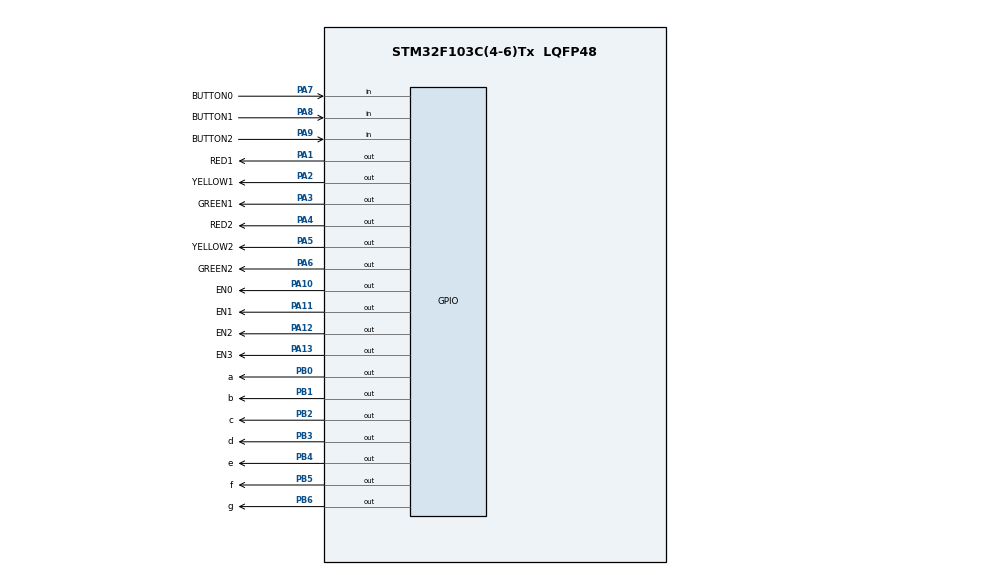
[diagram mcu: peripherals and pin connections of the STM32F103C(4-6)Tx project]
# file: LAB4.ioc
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Mcu.Family=STM32F1
Mcu.Name=STM32F103C(4-6)Tx
Mcu.Package=LQFP48
NVIC.PriorityGroup=NVIC_PRIORITYGROUP_4
NVIC.TIM2_IRQn=true\:0\:0\:false\:false\:true\:true\:true
PA1.GPIO_Label=RED1
PA1.Signal=GPIO_Output
PA10.GPIO_Label=EN0
PA10.Signal=GPIO_Output
PA11.GPIO_Label=EN1
PA11.Signal=GPIO_Output
PA12.GPIO_Label=EN2
PA12.Signal=GPIO_Output
PA13.GPIO_Label=EN3
PA13.Signal=GPIO_Output
PA2.GPIO_Label=YELLOW1
PA2.Signal=GPIO_Output
PA3.GPIO_Label=GREEN1
PA3.Signal=GPIO_Output
PA4.GPIO_Label=RED2
PA4.Signal=GPIO_Output
PA5.GPIO_Label=YELLOW2
PA5.Signal=GPIO_Output
PA6.GPIO_Label=GREEN2
PA6.Signal=GPIO_Output
PA7.GPIO_Label=BUTTON0
PA7.GPIO_PuPd=GPIO_PULLUP
PA7.Signal=GPIO_Input
PA8.GPIO_Label=BUTTON1
PA8.GPIO_PuPd=GPIO_PULLUP
PA8.Signal=GPIO_Input
PA9.GPIO_Label=BUTTON2
PA9.GPIO_PuPd=GPIO_PULLUP
PA9.Signal=GPIO_Input
PB0.GPIO_Label=a
PB0.Signal=GPIO_Output
PB1.GPIO_Label=b
PB1.Signal=GPIO_Output
PB2.GPIO_Label=c
PB2.Signal=GPIO_Output
PB3.GPIO_Label=d
PB3.Signal=GPIO_Output
PB4.GPIO_Label=e
PB4.Signal=GPIO_Output
PB5.GPIO_Label=f
PB5.Signal=GPIO_Output
PB6.GPIO_Label=g
PB6.Signal=GPIO_Output
ProjectManager.HeapSize=0x200
ProjectManager.StackSize=0x400
ProjectManager.TargetToolchain=STM32CubeIDE
RCC.APB1Freq_Value=8000000
RCC.APB2Freq_Value=8000000
TIM2.Period=9
TIM2.Prescaler=7999
VP_SYS_VS_ND.Mode=No_Debug
VP_TIM2_VS_ClockSourceINT.Mode=Internal
board=custom

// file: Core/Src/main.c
/* USER CODE BEGIN Header */
/**
  ******************************************************************************
  * @file           : main.c
  * @brief          : Main program body
  ******************************************************************************
  * @attention
  *
  * <h2><center>&copy; Copyright (c) 2024 STMicroelectronics.
  * All rights reserved.</center></h2>
  *
  * This software component is licensed by ST under BSD 3-Clause license,
  * the "License"; You may not use this file except in compliance with the
  * License. You may obtain a copy of the License at:
  *                        opensource.org/licenses/BSD-3-Clause
  *
  ******************************************************************************
  */
/* USER CODE END Header */
#include "main.h"

/* USER CODE BEGIN Includes */
#include "fsm_automatic.h"
#include "fsm_manual.h"
#include "button.h"
#include "display.h"
#include "scheduler.h"
/* USER CODE END Includes */

TIM_HandleTypeDef htim2;

void SystemClock_Config(void);
static void MX_GPIO_Init(void);
static void MX_TIM2_Init(void);

/* USER CODE BEGIN 0 */
int index_led_7SEG = 0;
void displayLed(){
	update7SEG(index_led_7SEG++);
	if (index_led_7SEG >= 4) index_led_7SEG = 0;
}
/* USER CODE END 0 */

int main(void)
{

  /* MCU Configuration--------------------------------------------------------*/

  /* Reset of all peripherals, Initializes the Flash interface and the Systick. */
  HAL_Init();

  /* Configure the system clock */
  SystemClock_Config();

  /* Initialize all configured peripherals */
  MX_GPIO_Init();
  MX_TIM2_Init();
  /* USER CODE BEGIN 2 */
  HAL_TIM_Base_Start_IT(&htim2);
  /* USER CODE END 2 */

  /* Infinite loop */
  /* USER CODE BEGIN WHILE */
  status = INIT;
  SCH_Init();
  SCH_Add_Task(fsm_automatic_run,100, 100);
  SCH_Add_Task(fsm_manual_run,25 , 25);
  SCH_Add_Task(displayLed, 25 , 25);
  while (1)
  {
//	 	fsm_automatic_run();
//	 	fsm_manual_run();
	  SCH_Dispatch_Tasks();
    /* USER CODE END WHILE */

  }
}

void SystemClock_Config(void)
{
  RCC_OscInitTypeDef RCC_OscInitStruct = {0};
  RCC_ClkInitTypeDef RCC_ClkInitStruct = {0};

  /** Initializes the RCC Oscillators according to the specified parameters
  * in the RCC_OscInitTypeDef structure.
  */
  RCC_OscInitStruct.OscillatorType = RCC_OSCILLATORTYPE_HSI;
  RCC_OscInitStruct.HSIState = RCC_HSI_ON;
  RCC_OscInitStruct.HSICalibrationValue = RCC_HSICALIBRATION_DEFAULT;
  RCC_OscInitStruct.PLL.PLLState = RCC_PLL_NONE;
  if (HAL_RCC_OscConfig(&RCC_OscInitStruct) != HAL_OK)
  {
    Error_Handler();
  }
  /** Initializes the CPU, AHB and APB buses clocks
  */
  RCC_ClkInitStruct.ClockType = RCC_CLOCKTYPE_HCLK|RCC_CLOCKTYPE_SYSCLK
                              |RCC_CLOCKTYPE_PCLK1|RCC_CLOCKTYPE_PCLK2;
  RCC_ClkInitStruct.SYSCLKSource = RCC_SYSCLKSOURCE_HSI;
  RCC_ClkInitStruct.AHBCLKDivider = RCC_SYSCLK_DIV1;
  RCC_ClkInitStruct.APB1CLKDivider = RCC_HCLK_DIV1;
  RCC_ClkInitStruct.APB2CLKDivider = RCC_HCLK_DIV1;

  if (HAL_RCC_ClockConfig(&RCC_ClkInitStruct, FLASH_LATENCY_0) != HAL_OK)
  {
    Error_Handler();
  }
}

static void MX_TIM2_Init(void)
{

  TIM_ClockConfigTypeDef sClockSourceConfig = {0};
  TIM_MasterConfigTypeDef sMasterConfig = {0};

  htim2.Instance = TIM2;
  htim2.Init.Prescaler = 7999;
  htim2.Init.CounterMode = TIM_COUNTERMODE_UP;
  htim2.Init.Period = 9;
  htim2.Init.ClockDivision = TIM_CLOCKDIVISION_DIV1;
  htim2.Init.AutoReloadPreload = TIM_AUTORELOAD_PRELOAD_DISABLE;
  if (HAL_TIM_Base_Init(&htim2) != HAL_OK)
  {
    Error_Handler();
  }
  sClockSourceConfig.ClockSource = TIM_CLOCKSOURCE_INTERNAL;
  if (HAL_TIM_ConfigClockSource(&htim2, &sClockSourceConfig) != HAL_OK)
  {
    Error_Handler();
  }
  sMasterConfig.MasterOutputTrigger = TIM_TRGO_RESET;
  sMasterConfig.MasterSlaveMode = TIM_MASTERSLAVEMODE_DISABLE;
  if (HAL_TIMEx_MasterConfigSynchronization(&htim2, &sMasterConfig) != HAL_OK)
  {
    Error_Handler();
  }

}

static void MX_GPIO_Init(void)
{
  GPIO_InitTypeDef GPIO_InitStruct = {0};

  /* GPIO Ports Clock Enable */
  __HAL_RCC_GPIOA_CLK_ENABLE();
  __HAL_RCC_GPIOB_CLK_ENABLE();

  /*Configure GPIO pin Output Level */
  HAL_GPIO_WritePin(GPIOA, RED1_Pin|YELLOW1_Pin|GREEN1_Pin|RED2_Pin
                          |YELLOW2_Pin|GREEN2_Pin|EN0_Pin|EN1_Pin
                          |EN2_Pin|EN3_Pin, GPIO_PIN_RESET);

  /*Configure GPIO pin Output Level */
  HAL_GPIO_WritePin(GPIOB, a_Pin|b_Pin|c_Pin|d_Pin
                          |e_Pin|f_Pin|g_Pin, GPIO_PIN_RESET);

  /*Configure GPIO pins : RED1_Pin YELLOW1_Pin GREEN1_Pin RED2_Pin
                           YELLOW2_Pin GREEN2_Pin EN0_Pin EN1_Pin
                           EN2_Pin EN3_Pin */
  GPIO_InitStruct.Pin = RED1_Pin|YELLOW1_Pin|GREEN1_Pin|RED2_Pin
                          |YELLOW2_Pin|GREEN2_Pin|EN0_Pin|EN1_Pin
                          |EN2_Pin|EN3_Pin;
  GPIO_InitStruct.Mode = GPIO_MODE_OUTPUT_PP;
  GPIO_InitStruct.Pull = GPIO_NOPULL;
  GPIO_InitStruct.Speed = GPIO_SPEED_FREQ_LOW;
  HAL_GPIO_Init(GPIOA, &GPIO_InitStruct);

  /*Configure GPIO pins : BUTTON0_Pin BUTTON1_Pin BUTTON2_Pin */
  GPIO_InitStruct.Pin = BUTTON0_Pin|BUTTON1_Pin|BUTTON2_Pin;
  GPIO_InitStruct.Mode = GPIO_MODE_INPUT;
  GPIO_InitStruct.Pull = GPIO_PULLUP;
  HAL_GPIO_Init(GPIOA, &GPIO_InitStruct);

  /*Configure GPIO pins : a_Pin b_Pin c_Pin d_Pin
                           e_Pin f_Pin g_Pin */
  GPIO_InitStruct.Pin = a_Pin|b_Pin|c_Pin|d_Pin
                          |e_Pin|f_Pin|g_Pin;
  GPIO_InitStruct.Mode = GPIO_MODE_OUTPUT_PP;
  GPIO_InitStruct.Pull = GPIO_NOPULL;
  GPIO_InitStruct.Speed = GPIO_SPEED_FREQ_LOW;
  HAL_GPIO_Init(GPIOB, &GPIO_InitStruct);

}

/* USER CODE BEGIN 4 */

void HAL_TIM_PeriodElapsedCallback(TIM_HandleTypeDef *htim){
	getKeyInput();
	SCH_Update();
}

/* USER CODE END 4 */

void Error_Handler(void)
{
  __disable_irq();
  while (1)
  {
  }
}

/************************ (C) COPYRIGHT STMicroelectronics *****END OF FILE****/
